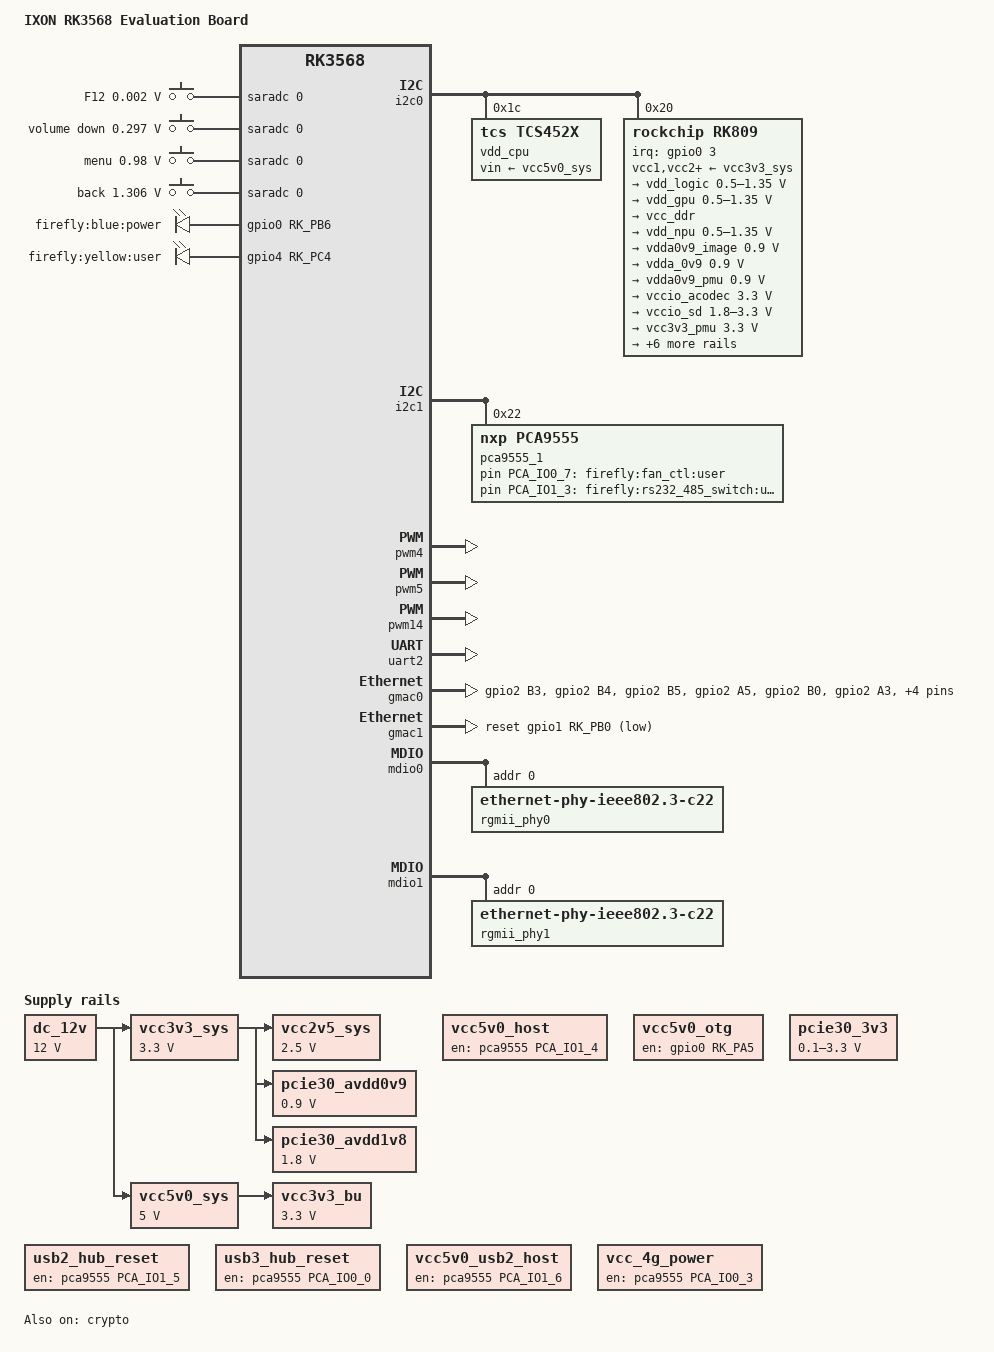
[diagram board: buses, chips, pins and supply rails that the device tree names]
/*
 * SPDX-License-Identifier:     GPL-2.0+
 *
 * (C) Copyright 2020 Rockchip Electronics Co., Ltd
 */

/dts-v1/;
#include "rk3568.dtsi"
#include "rk3568-u-boot.dtsi"
#include <dt-bindings/input/input.h>

/ {

	model = "IXON RK3568 Evaluation Board";
	compatible = "rockchip,rk3568-ixon-ev", "rockchip,rk3568";

	dc_12v: dc-12v {
		compatible = "regulator-fixed";
		regulator-name = "dc_12v";
		regulator-always-on;
		regulator-boot-on;
		regulator-min-microvolt = <12000000>;
		regulator-max-microvolt = <12000000>;
	};


	vcc3v3_sys: vcc3v3-sys {
		compatible = "regulator-fixed";
		regulator-name = "vcc3v3_sys";
		regulator-always-on;
		regulator-boot-on;
		regulator-min-microvolt = <3300000>;
		regulator-max-microvolt = <3300000>;
		vin-supply = <&dc_12v>;
	};

	vcc5v0_sys: vcc5v0-sys {
		compatible = "regulator-fixed";
		regulator-name = "vcc5v0_sys";
		regulator-always-on;
		regulator-boot-on;
		regulator-min-microvolt = <5000000>;
		regulator-max-microvolt = <5000000>;
		vin-supply = <&dc_12v>;
	};

	vcc5v0_host: vcc5v0-host-regulator {
		compatible = "regulator-fixed";
		enable-active-high;
		gpio = <&gpio0 RK_PD6 GPIO_ACTIVE_HIGH>;
		pinctrl-names = "default";
		pinctrl-0 = <&vcc5v0_host_en>;
		regulator-name = "vcc5v0_host";
		regulator-always-on;
	};

	vcc5v0_otg: vcc5v0-otg-regulator {
		compatible = "regulator-fixed";
		enable-active-high;
		gpio = <&gpio0 RK_PA5 GPIO_ACTIVE_HIGH>;
		pinctrl-names = "default";
		pinctrl-0 = <&vcc5v0_otg_en>;
		regulator-name = "vcc5v0_otg";
	};

	test-power {
		status = "okay";
	};

	adc_keys: adc-keys {
		compatible = "adc-keys";
		io-channels = <&saradc 0>;
		io-channel-names = "buttons";
		keyup-threshold-microvolt = <1800000>;
		poll-interval = <100>;

		recovery-key {
			label = "F12";
			linux,code = <KEY_F12>;
			press-threshold-microvolt = <1750>;
		};

		vol-down-key {
			label = "volume down";
			linux,code = <KEY_VOLUMEDOWN>;
			press-threshold-microvolt = <297500>;
		};

		menu-key {
			label = "menu";
			linux,code = <KEY_MENU>;
			press-threshold-microvolt = <980000>;
		};

		back-key {
			label = "back";
			linux,code = <KEY_BACK>;
			press-threshold-microvolt = <1305500>;
		};
	};

	vcc2v5_sys: vcc2v5-ddr {
		compatible = "regulator-fixed";
		regulator-name = "vcc2v5-sys";
		regulator-always-on;
		regulator-boot-on;
		regulator-min-microvolt = <2500000>;
		regulator-max-microvolt = <2500000>;
		vin-supply = <&vcc3v3_sys>;
	};


	pcie30_avdd0v9: pcie30-avdd0v9 {
		compatible = "regulator-fixed";
		regulator-name = "pcie30_avdd0v9";
		regulator-always-on;
		regulator-boot-on;
		regulator-min-microvolt = <900000>;
		regulator-max-microvolt = <900000>;
		vin-supply = <&vcc3v3_sys>;
	};

	pcie30_avdd1v8: pcie30-avdd1v8 {
		compatible = "regulator-fixed";
		regulator-name = "pcie30_avdd1v8";
		regulator-always-on;
		regulator-boot-on;
		regulator-min-microvolt = <1800000>;
		regulator-max-microvolt = <1800000>;
		vin-supply = <&vcc3v3_sys>;
	};

	pcie30_3v3: gpio-regulator {
		compatible = "regulator-gpio";
		regulator-name = "pcie30_3v3";
		regulator-min-microvolt = <100000>;
		regulator-max-microvolt = <3300000>;
		gpios = <&gpio0 RK_PD4 GPIO_ACTIVE_HIGH>;
		gpios-states = <0x1>;
		states = <100000 0x0
			  3300000 0x1>;
	};

	vcc3v3_bu: vcc3v3-bu {
		compatible = "regulator-fixed";
		regulator-name = "vcc3v3_bu";
		regulator-always-on;
		regulator-boot-on;
		regulator-min-microvolt = <3300000>;
		regulator-max-microvolt = <3300000>;
		vin-supply = <&vcc5v0_sys>;
	};

	usb2_hub_reset: usb2-hub-reset-regulator {
		compatible = "regulator-fixed";
		enable-active-high;
		gpio = <&pca9555 PCA_IO1_5 GPIO_ACTIVE_HIGH>;
		regulator-name = "usb2_hub_reset_n";
		regulator-always-on;
	};

	usb3_hub_reset: usb3-hub-reset-regulator {
		compatible = "regulator-fixed";
		enable-active-high;
		gpio = <&pca9555 PCA_IO0_0 GPIO_ACTIVE_HIGH>;
		regulator-name = "usb3_hub_reset_n";
		regulator-always-on;
	};

	vcc5v0_usb2_host: vcc5v0-usb2-host-regulator {
		compatible = "regulator-fixed";
		enable-active-high;
		gpio = <&pca9555 PCA_IO1_6 GPIO_ACTIVE_HIGH>;
		regulator-name = "vcc5v0_usb2_host_en";
		regulator-always-on;
	};

    vcc_4g_power: vcc-4g-power-regulator {
        compatible = "regulator-fixed";
        enable-active-high;
        gpio = <&pca9555 PCA_IO0_3 GPIO_ACTIVE_HIGH>;
        regulator-name = "vcc_4g_power_en";
        regulator-always-on;
    };

	firefly_leds: leds {
		status = "okay";
		compatible = "gpio-leds";

		power_led: power {
			label = "firefly:blue:power";
			linux,default-trigger = "ir-power-click";
			default-state = "on";
			gpios = <&gpio0 RK_PB6 GPIO_ACTIVE_HIGH>;
			pinctrl-names = "default";
			pinctrl-0 = <&led_power>;
		};

		user_led: user {
			label = "firefly:yellow:user";
			linux,default-trigger = "ir-user-click";
			default-state = "off";
			gpios = <&gpio4 RK_PC4 GPIO_ACTIVE_HIGH>;
			pinctrl-names = "default";
			pinctrl-0 = <&led_user>;
		};

		fan_ctl: fan-ctl {
			label = "firefly:fan_ctl:user";
			linux,default-trigger = "ir-user-click";
			default-state = "on";
			gpios = <&pca9555_1 PCA_IO0_7 GPIO_ACTIVE_HIGH>;
		};

		rs232_485_switch: rs232-485-switch {
			label = "firefly:rs232_485_switch:user";
			linux,default-trigger = "ir-user-click";
			default-state = "off";  //off:RS232 on:RS485
			gpios = <&pca9555_1 PCA_IO1_3 GPIO_ACTIVE_HIGH>;
		};

	};

//	tp_power: tp-power-regulator {
//		compatible = "regulator-fixed";
//		enable-active-high;
//		gpio = <&gpio3 RK_PA4 GPIO_ACTIVE_HIGH>;
//		pinctrl-names = "default";
//		pinctrl-0 = <&tp_power_en>;
//		regulator-name = "tp_power_en";
//		regulator-always-on;
//	};

//	pcie20_3v3: gpio-regulator {
//		compatible = "regulator-gpio";
//		regulator-name = "pcie20_3v3";
//		regulator-min-microvolt = <0100000>;
//		regulator-max-microvolt = <3300000>;
//		gpios = <&pca9555 PCA_IO0_2 GPIO_ACTIVE_HIGH>;
//		gpios-states = <0x1>;
//		states = <0100000 0x0
//			  3300000 0x1>;
//	};
};

&vcc5v0_host {
	gpio = <&pca9555 PCA_IO1_4 GPIO_ACTIVE_HIGH>;
	/delete-property/ pinctrl-names;
	/delete-property/ pinctrl-0;
};

&gpio0 {
	u-boot,dm-pre-reloc;
};

&gpio1 {
	u-boot,dm-pre-reloc;
};

&gpio4 {
	u-boot,dm-pre-reloc;
};

&pinctrl {

	leds {
	    led_power: led-power {
	        rockchip,pins = <0 RK_PC0 RK_FUNC_GPIO &pcfg_pull_none>;
	    };

		led_user: led-user {
			rockchip,pins = <4 RK_PC4 RK_FUNC_GPIO &pcfg_pull_none>;
		};
	};

	gmac0 {
		gmac0_tx_bus2: gmac0-tx-bus2 {
			rockchip,pins =
				/* gmac0_txd0 */
				<2 RK_PB3 1 &pcfg_pull_none_drv_level_5>,
				/* gmac0_txd1 */
				<2 RK_PB4 1 &pcfg_pull_none_drv_level_5>,
				/* gmac0_txen */
				<2 RK_PB5 1 &pcfg_pull_none>;
		};

		gmac0_rgmii_clk: gmac0-rgmii-clk {
			rockchip,pins =
				/* gmac0_rxclk */
				<2 RK_PA5 2 &pcfg_pull_none>,
				/* gmac0_txclk */
				<2 RK_PB0 2 &pcfg_pull_none_drv_level_5>;
		};


		gmac0_rgmii_bus: gmac0-rgmii-bus {
			rockchip,pins =
				/* gmac0_rxd2 */
				<2 RK_PA3 2 &pcfg_pull_none>,
				/* gmac0_rxd3 */
				<2 RK_PA4 2 &pcfg_pull_none>,
				/* gmac0_txd2 */
				<2 RK_PA6 2 &pcfg_pull_none_drv_level_5>,
				/* gmac0_txd3 */
				<2 RK_PA7 2 &pcfg_pull_none_drv_level_5>;
		};
	};

	pmic {
		pmic_int: pmic_int {
			rockchip,pins =
				<0 RK_PA3 RK_FUNC_GPIO &pcfg_pull_up>;
		};

		soc_slppin_gpio: soc_slppin_gpio {
			rockchip,pins =
				<0 RK_PA2 RK_FUNC_GPIO &pcfg_pull_down>;
		};

		soc_slppin_slp: soc_slppin_slp {
			rockchip,pins =
				<0 RK_PA2 RK_FUNC_1 &pcfg_pull_up>;
		};

		soc_slppin_rst: soc_slppin_rst {
			rockchip,pins =
				<0 RK_PA2 RK_FUNC_2 &pcfg_pull_none>;
		};

		spk_ctl_gpio: spk_ctl_gpio {
			rockchip,pins = <3 RK_PC5 RK_FUNC_GPIO &pcfg_pull_up>;
		};
	};

	usb {
		vcc5v0_host_en: vcc5v0-host-en {
			rockchip,pins = <0 RK_PD6 RK_FUNC_GPIO &pcfg_pull_none>;
		};

		vcc5v0_otg_en: vcc5v0-otg-en {
			rockchip,pins = <0 RK_PA5 RK_FUNC_GPIO &pcfg_pull_none>;
		};
	};
};



&i2c0 {
	status = "okay";

	vdd_cpu: tcs4525@1c {
		compatible = "tcs,tcs452x";
		reg = <0x1c>;
		vin-supply = <&vcc5v0_sys>;
		regulator-compatible = "fan53555-reg";
		regulator-name = "vdd_cpu";
		regulator-min-microvolt = <712500>;
		regulator-max-microvolt = <1390000>;
		regulator-ramp-delay = <2300>;
		fcs,suspend-voltage-selector = <1>;
		regulator-boot-on;
		regulator-always-on;
		regulator-state-mem {
			regulator-off-in-suspend;
		};
	};

	rk809: pmic@20 {
		compatible = "rockchip,rk809";
		reg = <0x20>;
		interrupt-parent = <&gpio0>;
		interrupts = <3 IRQ_TYPE_LEVEL_LOW>;

		pinctrl-names = "default", "pmic-sleep",
				"pmic-power-off", "pmic-reset";
		pinctrl-0 = <&pmic_int>;
		pinctrl-1 = <&soc_slppin_slp>, <&rk817_slppin_slp>;
		pinctrl-2 = <&soc_slppin_gpio>, <&rk817_slppin_pwrdn>;
		pinctrl-3 = <&soc_slppin_gpio>, <&rk817_slppin_rst>;

		rockchip,system-power-controller;
		wakeup-source;
		#clock-cells = <1>;
		clock-output-names = "rk808-clkout1", "rk808-clkout2";
		//fb-inner-reg-idxs = <2>;
		/* 1: rst regs (default in codes), 0: rst the pmic */
		pmic-reset-func = <0>;
		/* not save the PMIC_POWER_EN register in uboot */
		not-save-power-en = <1>;

		vcc1-supply = <&vcc3v3_sys>;
		vcc2-supply = <&vcc3v3_sys>;
		vcc3-supply = <&vcc3v3_sys>;
		vcc4-supply = <&vcc3v3_sys>;
		vcc5-supply = <&vcc3v3_sys>;
		vcc6-supply = <&vcc3v3_sys>;
		vcc7-supply = <&vcc3v3_sys>;
		vcc8-supply = <&vcc3v3_sys>;
		vcc9-supply = <&vcc3v3_sys>;

		pwrkey {
			status = "okay";
		};

		pinctrl_rk8xx: pinctrl_rk8xx {
			gpio-controller;
			#gpio-cells = <2>;

			rk817_slppin_null: rk817_slppin_null {
				pins = "gpio_slp";
				function = "pin_fun0";
			};

			rk817_slppin_slp: rk817_slppin_slp {
				pins = "gpio_slp";
				function = "pin_fun1";
			};

			rk817_slppin_pwrdn: rk817_slppin_pwrdn {
				pins = "gpio_slp";
				function = "pin_fun2";
			};

			rk817_slppin_rst: rk817_slppin_rst {
				pins = "gpio_slp";
				function = "pin_fun3";
			};
		};

		regulators {
			vdd_logic: DCDC_REG1 {
				regulator-always-on;
				regulator-boot-on;
				regulator-min-microvolt = <500000>;
				regulator-max-microvolt = <1350000>;
				regulator-init-microvolt = <900000>;
				regulator-ramp-delay = <6001>;
				regulator-initial-mode = <0x2>;
				regulator-name = "vdd_logic";
				regulator-state-mem {
					regulator-off-in-suspend;
				};
			};

			vdd_gpu: DCDC_REG2 {
				regulator-always-on;
				regulator-boot-on;
				regulator-min-microvolt = <500000>;
				regulator-max-microvolt = <1350000>;
				regulator-init-microvolt = <900000>;
				regulator-ramp-delay = <6001>;
				regulator-initial-mode = <0x2>;
				regulator-name = "vdd_gpu";
				regulator-state-mem {
					regulator-off-in-suspend;
				};
			};

			vcc_ddr: DCDC_REG3 {
				regulator-always-on;
				regulator-boot-on;
				regulator-initial-mode = <0x2>;
				regulator-name = "vcc_ddr";
				regulator-state-mem {
					regulator-on-in-suspend;
				};
			};

			vdd_npu: DCDC_REG4 {
				regulator-always-on;
				regulator-boot-on;
				regulator-min-microvolt = <500000>;
				regulator-max-microvolt = <1350000>;
				regulator-init-microvolt = <900000>;
				regulator-ramp-delay = <6001>;
				regulator-initial-mode = <0x2>;
				regulator-name = "vdd_npu";
				regulator-state-mem {
					regulator-off-in-suspend;
				};
			};

			vdda0v9_image: LDO_REG1 {
				regulator-boot-on;
				regulator-always-on;
				regulator-min-microvolt = <900000>;
				regulator-max-microvolt = <900000>;
				regulator-name = "vdda0v9_image";
				regulator-state-mem {
					regulator-off-in-suspend;
				};
			};

			vdda_0v9: LDO_REG2 {
				regulator-always-on;
				regulator-boot-on;
				regulator-min-microvolt = <900000>;
				regulator-max-microvolt = <900000>;
				regulator-name = "vdda_0v9";
				regulator-state-mem {
					regulator-off-in-suspend;
				};
			};

			vdda0v9_pmu: LDO_REG3 {
				regulator-always-on;
				regulator-boot-on;
				regulator-min-microvolt = <900000>;
				regulator-max-microvolt = <900000>;
				regulator-name = "vdda0v9_pmu";
				regulator-state-mem {
					regulator-on-in-suspend;
					regulator-suspend-microvolt = <900000>;
				};
			};

			vccio_acodec: LDO_REG4 {
				regulator-always-on;
				regulator-boot-on;
				regulator-min-microvolt = <3300000>;
				regulator-max-microvolt = <3300000>;
				regulator-name = "vccio_acodec";
				regulator-state-mem {
					regulator-off-in-suspend;
				};
			};

			vccio_sd: LDO_REG5 {
				regulator-always-on;
				regulator-boot-on;
				regulator-min-microvolt = <1800000>;
				regulator-max-microvolt = <3300000>;
				regulator-name = "vccio_sd";
				regulator-state-mem {
					regulator-off-in-suspend;
				};
			};

			vcc3v3_pmu: LDO_REG6 {
				regulator-always-on;
				regulator-boot-on;
				regulator-min-microvolt = <3300000>;
				regulator-max-microvolt = <3300000>;
				regulator-name = "vcc3v3_pmu";
				regulator-state-mem {
					regulator-on-in-suspend;
					regulator-suspend-microvolt = <3300000>;
				};
			};

			vcca_1v8: LDO_REG7 {
				regulator-always-on;
				regulator-boot-on;
				regulator-min-microvolt = <1800000>;
				regulator-max-microvolt = <1800000>;
				regulator-name = "vcca_1v8";
				regulator-state-mem {
					regulator-off-in-suspend;
				};
			};

			vcca1v8_pmu: LDO_REG8 {
				regulator-always-on;
				regulator-boot-on;
				regulator-min-microvolt = <1800000>;
				regulator-max-microvolt = <1800000>;
				regulator-name = "vcca1v8_pmu";
				regulator-state-mem {
					regulator-on-in-suspend;
					regulator-suspend-microvolt = <1800000>;
				};
			};

			vcca1v8_image: LDO_REG9 {
				regulator-always-on;
				regulator-boot-on;
				regulator-min-microvolt = <1800000>;
				regulator-max-microvolt = <1800000>;
				regulator-name = "vcca1v8_image";
				regulator-state-mem {
					regulator-off-in-suspend;
				};
			};

			vcc_1v8: DCDC_REG5 {
				regulator-always-on;
				regulator-boot-on;
				regulator-min-microvolt = <1800000>;
				regulator-max-microvolt = <1800000>;
				regulator-name = "vcc_1v8";
				regulator-state-mem {
					regulator-off-in-suspend;
				};
			};

			vcc_3v3: SWITCH_REG1 {
				regulator-always-on;
				regulator-boot-on;
				regulator-name = "vcc_3v3";
				regulator-state-mem {
					regulator-off-in-suspend;
				};
			};

			vcc3v3_sd: SWITCH_REG2 {
				regulator-always-on;
				regulator-boot-on;
				regulator-name = "vcc3v3_sd";
				regulator-state-mem {
					regulator-off-in-suspend;
				};
			};
		};
	};
};

&i2c1 {
	status = "okay";

	pca9555: gpio@21 {
		status = "disabled";
		compatible = "nxp,pca9555";
		reg = <0x21>;
		gpio-controller;
		#gpio-cells = <2>;
		gpio-group-num = <200>;
	};

	pca9555_1: gpio@22 {
		status = "okay";
		compatible = "nxp,pca9555";
		reg = <0x22>;
		gpio-controller;
		#gpio-cells = <2>;
		gpio-group-num = <300>;
	};
};

&pmu_io_domains {
	status = "okay";
	pmuio1-supply = <&vcc3v3_pmu>;
	pmuio2-supply = <&vcc3v3_pmu>;
	vccio1-supply = <&vccio_acodec>;
	vccio3-supply = <&vccio_sd>;
	vccio4-supply = <&vcc_1v8>;
	vccio5-supply = <&vcc_3v3>;
	vccio6-supply = <&vcc_1v8>;
	vccio7-supply = <&vcc_3v3>;
};


&pwm4 {
	status = "okay";
};

&pwm5 {
	status = "okay";
};

&pwm14 {
	status = "okay";
};

&crypto {
	status = "okay";
};

&uart2 {
	status = "okay";
};

&gmac0 {
    status = "okay";
    tx_delay = <0x4a>;
    rx_delay = <0x35>;
	snps,reset-gpio = <&gpio0 RK_PD5 GPIO_ACTIVE_LOW>;

	clock_in_out = "output";
	assigned-clocks = <&cru SCLK_GMAC0_RX_TX>, <&cru SCLK_GMAC0>;
	assigned-clock-rates = <0>, <125000000>;
	assigned-clock-parents = <&cru SCLK_GMAC0_RGMII_SPEED>;

	pinctrl-names = "default";
	pinctrl-0 = <&gmac0_miim
		     &gmac0_tx_bus2
		     &gmac0_rx_bus2
		     &gmac0_rgmii_clk
		     &gmac0_rgmii_bus>;

};

&gmac1 {
    status = "okay";
    tx_delay = <0x4d>;
    rx_delay = <0x2d>;
	snps,reset-gpio = <&gpio1 RK_PB0 GPIO_ACTIVE_LOW>;

	clock_in_out = "output";
	assigned-clocks = <&cru SCLK_GMAC1_RX_TX>, <&cru SCLK_GMAC1>;
	assigned-clock-rates = <0>, <125000000>;
	assigned-clock-parents = <&cru SCLK_GMAC1_RGMII_SPEED>;

	pinctrl-names = "default";
	pinctrl-0 = <&gmac1m1_miim
		     &gmac1m1_tx_bus2
		     &gmac1m1_rx_bus2
		     &gmac1m1_rgmii_clk
		     &gmac1m1_rgmii_bus>;
};

&mdio0 {
	rgmii_phy0: phy@0 {
		compatible = "ethernet-phy-ieee802.3-c22";
		led_status_value = <0x6940>;
		reg = <0x0>;
	};
};

&mdio1 {
	rgmii_phy1: phy@0 {
		compatible = "ethernet-phy-ieee802.3-c22";
		led_status_value = <0x6940>;
		reg = <0x0>;
	};
};



